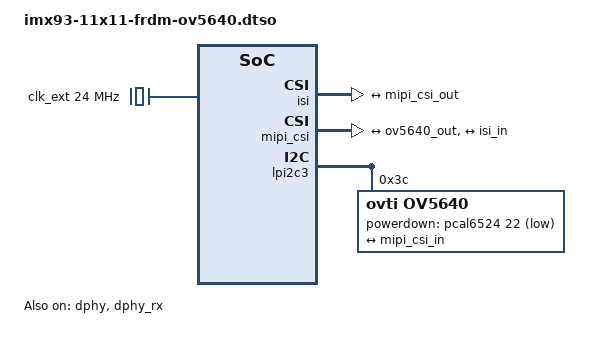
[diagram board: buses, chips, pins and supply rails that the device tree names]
// SPDX-License-Identifier: (GPL-2.0+ OR MIT)
/*
 * Copyright 2025 Wig Cheng <onlywig@gmail.com>
 */

#include <dt-bindings/gpio/gpio.h>

/dts-v1/;
/plugin/;

&{/} {
	clk_ext: clock-external {
		compatible = "fixed-clock";
		#clock-cells = <0>;
		clock-frequency = <24000000>;
		clock-output-names = "clk_ext";
	};
};

&dphy {
	status = "okay";
};

&dphy_rx {
	status = "okay";
};

&isi {
	status = "okay";

	port {
		isi_in: endpoint {
		remote-endpoint = <&mipi_csi_out>;
		};
	};
};

&mipi_csi {
	status = "okay";

	ports {
		#address-cells = <1>;
		#size-cells = <0>;

		port@0 {
			reg = <0>;

			mipi_csi_in: endpoint {
				remote-endpoint = <&ov5640_out>;
				data-lanes = <1 2>;
				clock-lanes = <0>;
			};
		};

		port@1 {
			reg = <1>;

			mipi_csi_out: endpoint {
				remote-endpoint = <&isi_in>;
			};
		};
	};
};

&lpi2c3 {
	#address-cells = <1>;
	#size-cells = <0>;

	ov5640: sensor@3c {
		compatible = "ovti,ov5640";
		reg = <0x3c>;
		powerdown-gpios = <&pcal6524 22 GPIO_ACTIVE_LOW>;
		clocks = <&clk_ext>;
		clock-names = "xclk";

		port {
			ov5640_out: endpoint {
				remote-endpoint = <&mipi_csi_in>;
				data-lanes = <1 2>;
				clock-lanes = <0>;
			};
		};
	};
};
